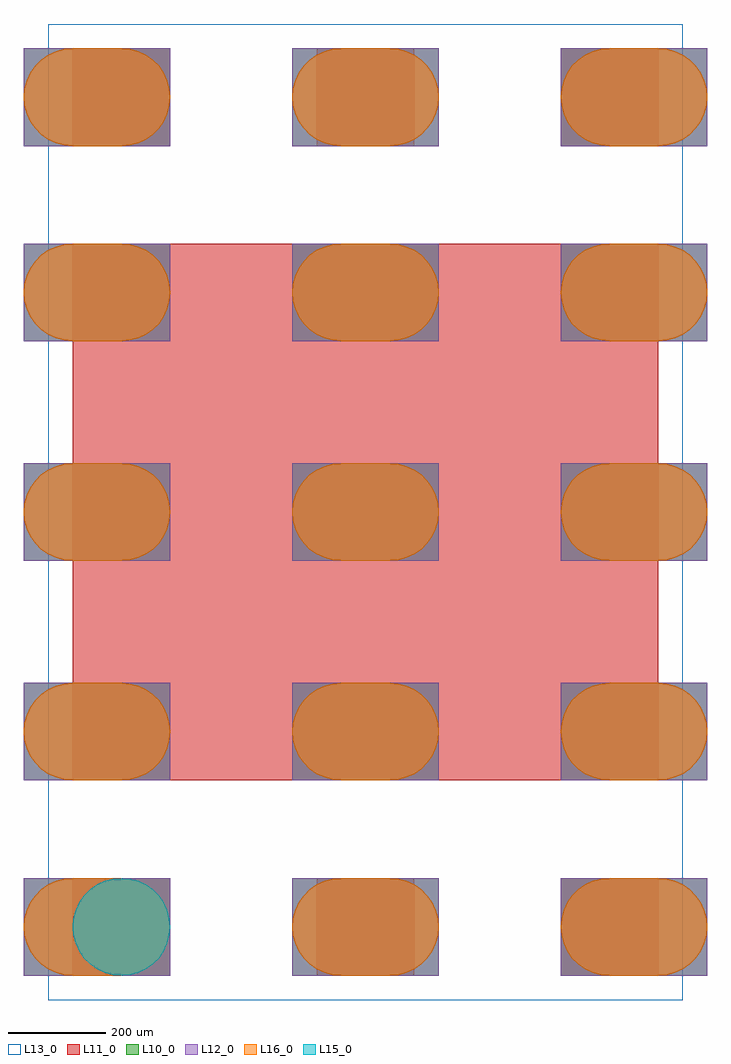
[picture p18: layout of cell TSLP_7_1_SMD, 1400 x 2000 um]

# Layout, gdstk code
import gdstk
lib = gdstk.Library(unit=1e-6, precision=1e-09)
def R(c, l, rs):  # rectangles x0, y0, x1, y1
    for r in rs: c.add(gdstk.rectangle(r[:2], r[2:], *l))
def A(c, l, x, y, w, h, nx, ny, dx, dy):  # array of equal rectangles
    R(c, l, [(x+i*dx, y+j*dy, x+i*dx+w, y+j*dy+h) for i in range(nx) for j in range(ny)])
def P(c, l, *ps):  # polygons
    for p in ps: c.add(gdstk.Polygon(p, *l))
L10_0 = (10, 0)
L11_0 = (11, 0)
L12_0 = (12, 0)
L13_0 = (13, 0)
L15_0 = (15, 0)
L16_0 = (16, 0)

tslp_7_1_smd = lib.new_cell('TSLP_7_1_SMD')
A(tslp_7_1_smd, L10_0, -700, -950, 300, 200, 3, 2, 550, 400)
A(tslp_7_1_smd, L10_0, -700, -100, 300, 200, 3, 2, 550, 450)
A(tslp_7_1_smd, L10_0, -700, 750, 300, 200, 3, 1, 550, 0)
A(tslp_7_1_smd, L11_0, -600, -950, 200, 200, 3, 2, 500, 1700)
R(tslp_7_1_smd, L11_0, [(-600,-550,600,550)])
A(tslp_7_1_smd, L12_0, -700, -950, 300, 200, 3, 2, 550, 400)
A(tslp_7_1_smd, L12_0, -700, -100, 300, 200, 3, 2, 550, 450)
A(tslp_7_1_smd, L12_0, -700, 750, 300, 200, 3, 1, 550, 0)
R(tslp_7_1_smd, L13_0, [(-650,-1000,650,1000)])
P(tslp_7_1_smd, L15_0, [(-406,-884),(-413,-900),(-423,-914),(-436,-927),(-450,-937),(-466,-944),(-483,-949),(-500,-950),(-517,-949),(-534,-944),(-550,-937),(-564,-927),(-577,-914),(-587,-900),(-594,-884),(-599,-867),(-600,-850),(-599,-833),(-594,-816),(-587,-800),(-577,-786),(-564,-773),(-550,-763),(-534,-756),(-517,-752),(-500,-750),(-483,-752),(-466,-756),(-450,-763),(-436,-773),(-423,-786),(-413,-800),(-406,-816),(-402,-833),(-400,-850),(-402,-867)])
P(tslp_7_1_smd, L16_0, [(450,-937),(466,-944),(483,-949),(500,-950),(600,-950),(617,-949),(634,-944),(650,-937),(664,-927),(677,-914),(687,-900),(694,-884),(699,-867),(700,-850),(699,-833),(694,-816),(687,-800),(677,-786),(664,-773),(650,-763),(634,-756),(617,-752),(600,-750),(500,-750),(483,-752),(466,-756),(450,-763),(436,-773),(423,-786),(413,-800),(406,-816),(402,-833),(400,-850),(402,-867),(406,-884),(413,-900),(423,-914),(436,-927)],
  [(450,363),(466,356),(483,352),(500,350),(600,350),(617,352),(634,356),(650,363),(664,373),(677,386),(687,400),(694,416),(699,433),(700,450),(699,467),(694,484),(687,500),(677,514),(664,527),(650,537),(634,544),(617,549),(600,550),(500,550),(483,549),(466,544),(450,537),(436,527),(423,514),(413,500),(406,484),(402,467),(400,450),(402,433),(406,416),(413,400),(423,386),(436,373)],
  [(-100,-937),(-84,-944),(-67,-949),(-50,-950),(50,-950),(67,-949),(84,-944),(100,-937),(114,-927),(127,-914),(137,-900),(144,-884),(149,-867),(150,-850),(149,-833),(144,-816),(137,-800),(127,-786),(114,-773),(100,-763),(84,-756),(67,-752),(50,-750),(-50,-750),(-67,-752),(-84,-756),(-100,-763),(-114,-773),(-127,-786),(-137,-800),(-144,-816),(-149,-833),(-150,-850),(-149,-867),(-144,-884),(-137,-900),(-127,-914),(-114,-927)],
  [(-650,-937),(-634,-944),(-617,-949),(-600,-950),(-500,-950),(-483,-949),(-466,-944),(-450,-937),(-436,-927),(-423,-914),(-413,-900),(-406,-884),(-402,-867),(-400,-850),(-402,-833),(-406,-816),(-413,-800),(-423,-786),(-436,-773),(-450,-763),(-466,-756),(-483,-752),(-500,-750),(-600,-750),(-617,-752),(-634,-756),(-650,-763),(-664,-773),(-677,-786),(-687,-800),(-694,-816),(-699,-833),(-700,-850),(-699,-867),(-694,-884),(-687,-900),(-677,-914),(-664,-927)],
  [(450,763),(466,756),(483,752),(500,750),(600,750),(617,752),(634,756),(650,763),(664,773),(677,786),(687,800),(694,816),(699,833),(700,850),(699,867),(694,884),(687,900),(677,914),(664,927),(650,937),(634,944),(617,949),(600,950),(500,950),(483,949),(466,944),(450,937),(436,927),(423,914),(413,900),(406,884),(402,867),(400,850),(402,833),(406,816),(413,800),(423,786),(436,773)],
  [(-100,763),(-84,756),(-67,752),(-50,750),(50,750),(67,752),(84,756),(100,763),(114,773),(127,786),(137,800),(144,816),(149,833),(150,850),(149,867),(144,884),(137,900),(127,914),(114,927),(100,937),(84,944),(67,949),(50,950),(-50,950),(-67,949),(-84,944),(-100,937),(-114,927),(-127,914),(-137,900),(-144,884),(-149,867),(-150,850),(-149,833),(-144,816),(-137,800),(-127,786),(-114,773)],
  [(-650,763),(-634,756),(-617,752),(-600,750),(-500,750),(-483,752),(-466,756),(-450,763),(-436,773),(-423,786),(-413,800),(-406,816),(-402,833),(-400,850),(-402,867),(-406,884),(-413,900),(-423,914),(-436,927),(-450,937),(-466,944),(-483,949),(-500,950),(-600,950),(-617,949),(-634,944),(-650,937),(-664,927),(-677,914),(-687,900),(-694,884),(-699,867),(-700,850),(-699,833),(-694,816),(-687,800),(-677,786),(-664,773)],
  [(450,-537),(466,-544),(483,-549),(500,-550),(600,-550),(617,-549),(634,-544),(650,-537),(664,-527),(677,-514),(687,-500),(694,-484),(699,-467),(700,-450),(699,-433),(694,-416),(687,-400),(677,-386),(664,-373),(650,-363),(634,-356),(617,-352),(600,-350),(500,-350),(483,-352),(466,-356),(450,-363),(436,-373),(423,-386),(413,-400),(406,-416),(402,-433),(400,-450),(402,-467),(406,-484),(413,-500),(423,-514),(436,-527)],
  [(-100,-537),(-84,-544),(-67,-549),(-50,-550),(50,-550),(67,-549),(84,-544),(100,-537),(114,-527),(127,-514),(137,-500),(144,-484),(149,-467),(150,-450),(149,-433),(144,-416),(137,-400),(127,-386),(114,-373),(100,-363),(84,-356),(67,-352),(50,-350),(-50,-350),(-67,-352),(-84,-356),(-100,-363),(-114,-373),(-127,-386),(-137,-400),(-144,-416),(-149,-433),(-150,-450),(-149,-467),(-144,-484),(-137,-500),(-127,-514),(-114,-527)],
  [(-650,-537),(-634,-544),(-617,-549),(-600,-550),(-500,-550),(-483,-549),(-466,-544),(-450,-537),(-436,-527),(-423,-514),(-413,-500),(-406,-484),(-402,-467),(-400,-450),(-402,-433),(-406,-416),(-413,-400),(-423,-386),(-436,-373),(-450,-363),(-466,-356),(-483,-352),(-500,-350),(-600,-350),(-617,-352),(-634,-356),(-650,-363),(-664,-373),(-677,-386),(-687,-400),(-694,-416),(-699,-433),(-700,-450),(-699,-467),(-694,-484),(-687,-500),(-677,-514),(-664,-527)],
  [(-650,363),(-634,356),(-617,352),(-600,350),(-500,350),(-483,352),(-466,356),(-450,363),(-436,373),(-423,386),(-413,400),(-406,416),(-402,433),(-400,450),(-402,467),(-406,484),(-413,500),(-423,514),(-436,527),(-450,537),(-466,544),(-483,549),(-500,550),(-600,550),(-617,549),(-634,544),(-650,537),(-664,527),(-677,514),(-687,500),(-694,484),(-699,467),(-700,450),(-699,433),(-694,416),(-687,400),(-677,386),(-664,373)],
  [(-100,363),(-84,356),(-67,352),(-50,350),(50,350),(67,352),(84,356),(100,363),(114,373),(127,386),(137,400),(144,416),(149,433),(150,450),(149,467),(144,484),(137,500),(127,514),(114,527),(100,537),(84,544),(67,549),(50,550),(-50,550),(-67,549),(-84,544),(-100,537),(-114,527),(-127,514),(-137,500),(-144,484),(-149,467),(-150,450),(-149,433),(-144,416),(-137,400),(-127,386),(-114,373)],
  [(-650,-87),(-634,-94),(-617,-99),(-600,-100),(-500,-100),(-483,-99),(-466,-94),(-450,-87),(-436,-77),(-423,-64),(-413,-50),(-406,-34),(-402,-17),(-400,0),(-402,17),(-406,34),(-413,50),(-423,64),(-436,77),(-450,87),(-466,94),(-483,99),(-500,100),(-600,100),(-617,99),(-634,94),(-650,87),(-664,77),(-677,64),(-687,50),(-694,34),(-699,17),(-700,0),(-699,-17),(-694,-34),(-687,-50),(-677,-64),(-664,-77)],
  [(450,-87),(466,-94),(483,-99),(500,-100),(600,-100),(617,-99),(634,-94),(650,-87),(664,-77),(677,-64),(687,-50),(694,-34),(699,-17),(700,0),(699,17),(694,34),(687,50),(677,64),(664,77),(650,87),(634,94),(617,99),(600,100),(500,100),(483,99),(466,94),(450,87),(436,77),(423,64),(413,50),(406,34),(402,17),(400,0),(402,-17),(406,-34),(413,-50),(423,-64),(436,-77)],
  [(-100,-87),(-84,-94),(-67,-99),(-50,-100),(50,-100),(67,-99),(84,-94),(100,-87),(114,-77),(127,-64),(137,-50),(144,-34),(149,-17),(150,0),(149,17),(144,34),(137,50),(127,64),(114,77),(100,87),(84,94),(67,99),(50,100),(-50,100),(-67,99),(-84,94),(-100,87),(-114,77),(-127,64),(-137,50),(-144,34),(-149,17),(-150,0),(-149,-17),(-144,-34),(-137,-50),(-127,-64),(-114,-77)])

lib.write_gds('TSLP_7_1_SMD.gds')
